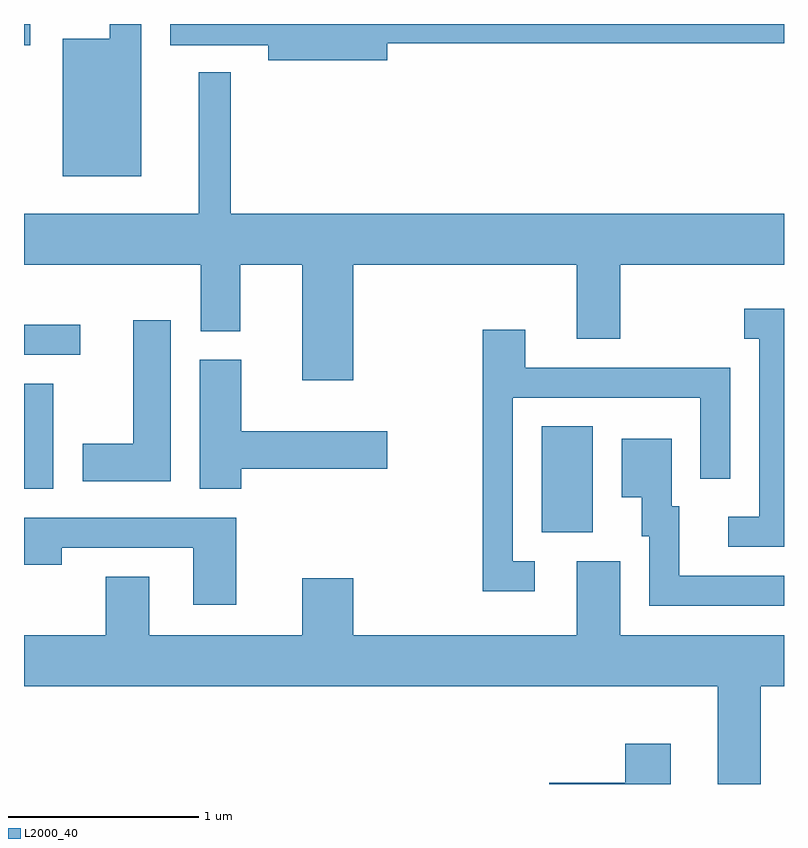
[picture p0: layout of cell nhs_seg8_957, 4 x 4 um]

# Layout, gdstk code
import gdstk
lib = gdstk.Library(unit=1e-6, precision=1e-09)
def R(c, l, rs):  # rectangles x0, y0, x1, y1
    for r in rs: c.add(gdstk.rectangle(r[:2], r[2:], *l))
def P(c, l, *ps):  # polygons
    for p in ps: c.add(gdstk.Polygon(p, *l))
L2000_40 = (2000, 40)

nhs_seg8_957 = lib.new_cell('nhs_seg8_957')
R(nhs_seg8_957, L2000_40, [(216.336,1841.666,216.604,1842.224), (213.611,1841.896,213.764,1842.449), (213.611,1842.601,213.908,1842.759), (213.611,1844.231,213.644,1844.342)])
P(nhs_seg8_957, L2000_40, [(215.524,1844.241),(217.611,1844.241),(217.611,1844.342),(214.381,1844.342),(214.381,1844.231),(214.896,1844.231),(214.896,1844.151),(215.524,1844.151)],
  [(214.229,1844.342),(214.061,1844.342),(214.061,1844.264),(213.816,1844.264),(213.816,1843.541),(214.229,1843.541)],
  [(215.344,1843.076),(216.521,1843.076),(216.521,1842.686),(216.749,1842.686),(216.749,1843.076),(217.611,1843.076),(217.611,1843.344),(214.699,1843.344),(214.699,1844.088),(214.531,1844.088),(214.531,1843.344),(213.611,1843.344),(213.611,1843.076),(214.541,1843.076),(214.541,1842.726),(214.749,1842.726),(214.749,1843.076),(215.076,1843.076),(215.076,1842.466),(215.344,1842.466)],
  [(217.611,1842.844),(217.403,1842.844),(217.403,1842.686),(217.481,1842.686),(217.481,1841.749),(217.318,1841.749),(217.318,1841.591),(217.611,1841.591)],
  [(214.384,1842.784),(214.186,1842.784),(214.186,1842.134),(213.921,1842.134),(213.921,1841.936),(214.384,1841.936)],
  [(216.298,1841.514),(216.184,1841.514),(216.184,1842.376),(217.171,1842.376),(217.171,1841.948),(217.329,1841.948),(217.329,1842.534),(216.249,1842.534),(216.249,1842.734),(216.026,1842.734),(216.026,1841.356),(216.298,1841.356)],
  [(214.754,1842.001),(215.524,1842.001),(215.524,1842.199),(214.754,1842.199),(214.754,1842.574),(214.536,1842.574),(214.536,1841.896),(214.754,1841.896)],
  [(217.611,1841.439),(217.059,1841.439),(217.059,1841.804),(217.019,1841.804),(217.019,1842.159),(216.756,1842.159),(216.756,1841.851),(216.861,1841.851),(216.861,1841.646),(216.901,1841.646),(216.901,1841.281),(217.611,1841.281)],
  [(214.729,1841.744),(213.611,1841.744),(213.611,1841.496),(213.809,1841.496),(213.809,1841.586),(214.501,1841.586),(214.501,1841.286),(214.729,1841.286)],
  [(217.489,1840.856),(217.611,1840.856),(217.611,1841.124),(216.749,1841.124),(216.749,1841.514),(216.521,1841.514),(216.521,1841.124),(215.344,1841.124),(215.344,1841.424),(215.076,1841.424),(215.076,1841.124),(214.269,1841.124),(214.269,1841.434),(214.041,1841.434),(214.041,1841.124),(213.611,1841.124),(213.611,1840.856),(217.261,1840.856),(217.261,1840.342),(217.489,1840.342)],
  [(217.014,1840.554),(216.776,1840.554),(216.776,1840.349),(216.376,1840.349),(216.376,1840.342),(217.014,1840.342)])

lib.write_gds('nhs_seg8_957.gds')
